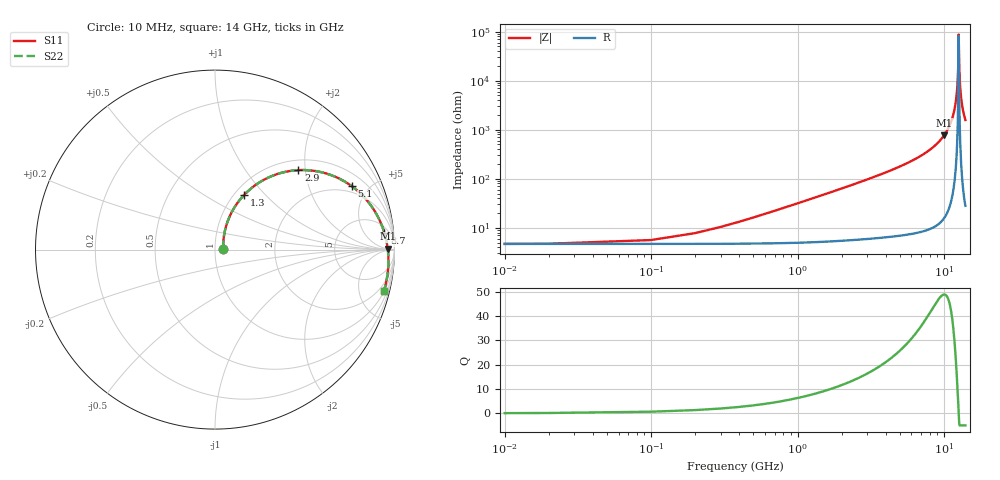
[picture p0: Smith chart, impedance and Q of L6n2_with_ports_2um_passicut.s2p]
#  GHZ S DB R 50.0
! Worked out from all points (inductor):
!   142 points, 10 MHz to 14 GHz, reference 50 ohm
!   read as one part in series: L = 4.93 nH near 500 MHz
!   highest Q = 48.9 at 10 GHz (marker M1), where L = 12.1 nH
!   self-resonance near 12.6 GHz
!   S11 on the Smith chart (normalised r, x): 10 MHz: 1.09, +0.01; 1.3 GHz: 1.11, +0.77; 2.9 GHz: 1.22, +1.84; 5.1 GHz: 1.62, +3.90; 8.7 GHz: 9, +16; 14 GHz: 1.09, -8.17
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0.01  -26.97 3.3  -0.40 -0.2  -0.40 -0.2  -26.97 3.3
0.6  -15.40 65.8  -0.58 -10.7  -0.58 -10.7  -15.40 65.8
1.3  -9.18 61.9  -1.09 -22.1  -1.09 -22.1  -9.18 61.9
2.4  -4.92 49.0  -2.36 -37.5  -2.36 -37.5  -4.92 49.0
2.9  -3.85 43.6  -3.06 -43.4  -3.06 -43.4  -3.85 43.6
4.7  -1.77 27.7  -5.91 -60.3  -5.91 -60.3  -1.77 27.7
5.1  -1.51 24.9  -6.59 -63.3  -6.59 -63.3  -1.51 24.9
7.1  -0.74 13.0  -10.32 -75.6  -10.32 -75.6  -0.74 13.0
8.7  -0.46 5.6  -13.97 -83.2  -13.97 -83.2  -0.46 5.5
9.4  -0.38 2.6  -15.93 -86.2  -15.93 -86.2  -0.38 2.6
10  -0.33 0.3  -17.93 -88.6  -17.93 -88.6  -0.33 0.2
11  -0.28 -3.5  -22.42 -92.2  -22.42 -92.2  -0.28 -3.5
11.7  -0.26 -6.0  -27.56 -94.1  -27.56 -94.1  -0.26 -6.0
12.1  -0.25 -7.4  -32.69 -94.4  -32.69 -94.4  -0.26 -7.4
12.4  -0.25 -8.4  -40.44 -91.8  -40.44 -91.8  -0.25 -8.4
12.5  -0.25 -8.7  -45.99 -86.6  -45.99 -86.6  -0.25 -8.8
12.6  -0.25 -9.1  -59.14 -30.2  -59.14 -30.2  -0.25 -9.1
12.7  -0.25 -9.4  -47.52 66.8  -47.52 66.8  -0.25 -9.4
12.8  -0.25 -9.8  -41.30 73.7  -41.30 73.7  -0.25 -9.8
13  -0.25 -10.4  -35.17 76.5  -35.17 76.5  -0.26 -10.4
13.4  -0.26 -11.8  -29.14 76.8  -29.14 76.8  -0.26 -11.8
14  -0.27 -13.7  -24.35 75.5  -24.35 75.5  -0.28 -13.7
